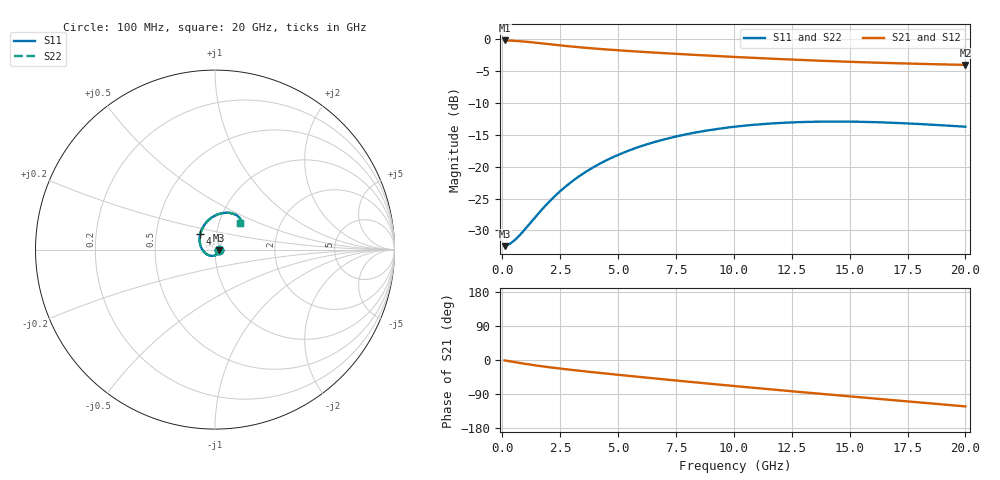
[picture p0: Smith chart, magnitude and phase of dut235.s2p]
! Created with skrf 1.9.0 (http://scikit-rf.org).
# GHz S RI R 50.0
!freq ReS11 ImS11 ReS21 ImS21 ReS12 ImS12 ReS22 ImS22
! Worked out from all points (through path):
!   200 points, 100 MHz to 20 GHz, reference 50 ohm
!   highest |S21| = -0.21 dB at 100 MHz (marker M1); lowest = -4.0 dB at 20 GHz (marker M2)
!   group delay of S21, straight-line fit = 16.2 ps
!   lowest |S11| = -32.5 dB at 100 MHz (marker M3), VSWR 1.05, Z = 52.4 - j0.422 ohm
!   |S11| at or under -10 dB: start of sweep to end of sweep
!   |S22| runs from -32.5 to -12.9 dB; largest |S21 - S12| = 2.4e-15
!   S11 on the Smith chart (normalised r, x): 100 MHz: 1.05, -0.01; 4.8 GHz: 0.84, +0.15; 20 GHz: 1.26, +0.39
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0.1  0.0235 -0.00403  0.9759 -0.0184  0.9759 -0.0184  0.0235 -0.00403
0.3  0.0214 -0.0123  0.9725 -0.0544  0.9725 -0.0544  0.0214 -0.0123
0.6  0.0144 -0.0231  0.962 -0.1065  0.962 -0.1065  0.0144 -0.0231
1.1  -0.00492 -0.0339  0.9332 -0.185  0.9332 -0.185  -0.00492 -0.0339
1.6  -0.028 -0.0336  0.8961 -0.2513  0.8961 -0.2513  -0.028 -0.0336
2.1  -0.0494 -0.0236  0.8561 -0.3064  0.8561 -0.3064  -0.0494 -0.0236
2.5  -0.0633 -0.0107  0.8239 -0.3443  0.8239 -0.3443  -0.0633 -0.0107
3  -0.0758 0.00898  0.7846 -0.3858  0.7846 -0.3858  -0.0758 0.00898
3.5  -0.083 0.0306  0.7463 -0.4228  0.7463 -0.4228  -0.083 0.0306
4.1  -0.0857 0.0569  0.7014 -0.4625  0.7014 -0.4625  -0.0857 0.0569
4.8  -0.0822 0.0863  0.6496 -0.5039  0.6496 -0.5039  -0.0822 0.0863
5.8  -0.068 0.1232  0.5757 -0.5549  0.5757 -0.5549  -0.068 0.1232
6.8  -0.047 0.1531  0.5013 -0.5969  0.5013 -0.5969  -0.047 0.1531
7.6  -0.0272 0.1718  0.4417 -0.6243  0.4417 -0.6243  -0.0272 0.1718
8.4  -0.00629 0.186  0.3821 -0.6463  0.3821 -0.6463  -0.00629 0.186
10.1  0.0382 0.2027  0.2576 -0.6763  0.2576 -0.6763  0.0382 0.2027
11.7  0.0755 0.2051  0.1448 -0.6861  0.1448 -0.6861  0.0755 0.2051
13.4  0.107 0.1978  0.0313 -0.6797  0.0313 -0.6797  0.107 0.1978
15  0.1278 0.1857  -0.0688 -0.6603  -0.0688 -0.6603  0.1278 0.1857
16.7  0.1404 0.1712  -0.1679 -0.6271  -0.1679 -0.6271  0.1404 0.1712
18.3  0.1443 0.1588  -0.2539 -0.5852  -0.2539 -0.5852  0.1443 0.1588
20  0.1415 0.1494  -0.3371 -0.5298  -0.3371 -0.5298  0.1415 0.1494
